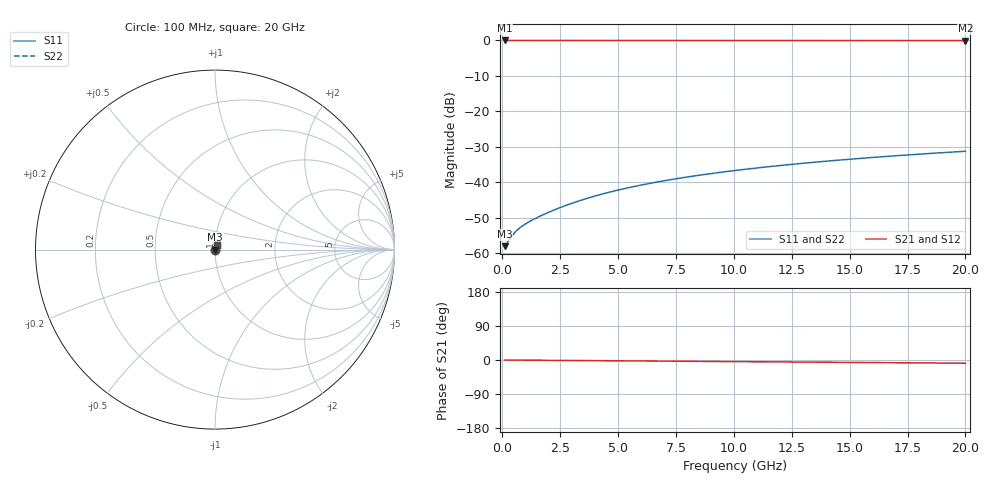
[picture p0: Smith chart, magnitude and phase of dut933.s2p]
! Touchstone file exported from HFSS 2026.1.0
!  File:  C:/ffzhzh/LocalFiles/Ansys_Project_Files/temp_train_TMRDL_933_1783158370_18472.aedt
!  Generated:  05:47:23 PM Jul  4, 2026
!  Design:  TMRDL
!  Project:  temp_train_TMRDL_933_1783158370_18472
! Variables:
!  h_bsmrdl = 2um
!  h_ox = 20um
!  h_rdl = 5um
!  h_sub = 80um
!  h_tmrdl = 2.24um
!  h_tsv = 80um
!  h_via = 3um
!  l_bsmrdl = 300um
!  l_sub = 530.07um
!  l_tmrdl = 130.07um
!  m_sub = 200um
!  pitch = 31.63um
!  r_tsv = 6um
!  s_tmrdl = 10um
!  w_bsmrdl = 18um
!  w_sub = 500um
!  w_tmrdl = 26.3um
!  x_tsv_center1 = 143.22um
!  x_tsv_center2 = 461.22um
!  x_tsv_center3 = 617.59um
!  x_tsv_center4 = 935.59um
!  x_tsv_center5 = 1091.96um
!  x_tsv_center6 = 1409.96um
# GHz S MA R 50.000000
! Terminal data exported
! Port[1] = TM_RDL1_1_T1
! Port[2] = TM_RDL1_1_T2
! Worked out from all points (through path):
!   200 points, 100 MHz to 20 GHz, reference 50 ohm
!   highest |S21| = -0.01 dB at 100 MHz (marker M1); lowest = 0.0 dB at 20 GHz (marker M2)
!   group delay of S21, straight-line fit = 1.17 ps
!   lowest |S11| = -58.1 dB at 100 MHz (marker M3), VSWR 1.00, Z = 50.1 + j0.0269 ohm
!   |S11| at or under -10 dB: start of sweep to end of sweep
!   |S22| runs from -58.1 to -31.3 dB; largest |S21 - S12| = 4.2e-15
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0.1  0.001246 12.4  0.9988 -0.0  0.9988 -0.0  0.001246 12.4
! Gamma 0 0 0 0
! Port Impedance 50 0 50 0
0.2  0.001372 22.3  0.9987 -0.1  0.9987 -0.1  0.001372 22.3
0.4  0.001713 33.7  0.9986 -0.2  0.9986 -0.2  0.001713 33.7
0.5  0.001882 36.8  0.9985 -0.2  0.9985 -0.2  0.001882 36.8
0.6  0.002039 39.1  0.9984 -0.3  0.9984 -0.3  0.002039 39.1
0.8  0.002319 42.6  0.9983 -0.4  0.9983 -0.4  0.002319 42.6
1.1  0.002689 46.9  0.9982 -0.5  0.9982 -0.5  0.002689 46.9
1.6  0.003272 53.1  0.9981 -0.7  0.9981 -0.7  0.003272 53.1
2.2  0.003997 58.8  0.998 -1.0  0.998 -1.0  0.003997 58.8
2.8  0.004759 62.9  0.9979 -1.2  0.9979 -1.2  0.004759 62.9
3.5  0.005682 66.3  0.9978 -1.5  0.9978 -1.5  0.005682 66.3
4.2  0.006627 68.7  0.9978 -1.8  0.9978 -1.8  0.006627 68.7
5  0.007719 70.5  0.9977 -2.1  0.9977 -2.1  0.007719 70.5
5.9  0.008954 71.9  0.9976 -2.5  0.9976 -2.5  0.008954 71.9
6.8  0.01019 72.8  0.9974 -2.9  0.9974 -2.9  0.01019 72.8
8.4  0.01237 73.6  0.9972 -3.6  0.9972 -3.6  0.01237 73.6
10.1  0.01465 73.9  0.9969 -4.3  0.9969 -4.3  0.01465 73.9
11.7  0.01677 73.9  0.9966 -5.0  0.9966 -5.0  0.01677 73.9
13.4  0.01898 73.7  0.9963 -5.7  0.9963 -5.7  0.01898 73.7
15  0.02103 73.4  0.996 -6.4  0.996 -6.4  0.02103 73.3
16.7  0.02318 72.9  0.9957 -7.1  0.9957 -7.1  0.02318 72.9
20  0.02725 71.9  0.9951 -8.4  0.9951 -8.4  0.02725 71.9
